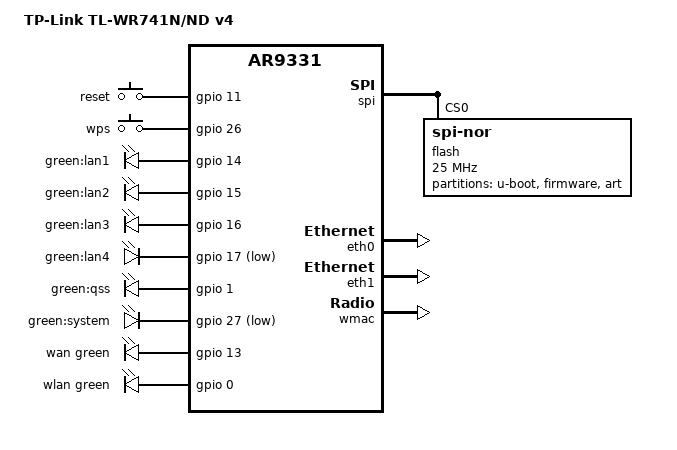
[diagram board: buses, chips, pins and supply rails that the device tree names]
// SPDX-License-Identifier: GPL-2.0-or-later OR MIT

#include "ar9331.dtsi"

#include <dt-bindings/gpio/gpio.h>
#include <dt-bindings/input/input.h>
#include <dt-bindings/leds/common.h>

/ {
	compatible = "tplink,tl-wr741n-v4", "qca,ar9331";
	model = "TP-Link TL-WR741N/ND v4";

	aliases {
		led-boot = &led_system;
		led-failsafe = &led_system;
		led-running = &led_system;
		led-upgrade = &led_system;
		label-mac-device = &wmac;
	};

	keys {
		compatible = "gpio-keys";

		reset {
			label = "reset";
			linux,code = <KEY_RESTART>;
			gpios = <&gpio 11 GPIO_ACTIVE_HIGH>;
			debounce-interval = <60>;
		};

		wps {
			label = "wps";
			linux,code = <KEY_WPS_BUTTON>;
			gpios = <&gpio 26 GPIO_ACTIVE_HIGH>;
			debounce-interval = <60>;
		};
	};

	leds {
		compatible = "gpio-leds";

		pinctrl-names = "default";
		pinctrl-0 = <&switch_led_disable_pins>;

		lan1 {
			label = "green:lan1";
			gpios = <&gpio 14 GPIO_ACTIVE_HIGH>;
		};

		lan2 {
			label = "green:lan2";
			gpios = <&gpio 15 GPIO_ACTIVE_HIGH>;
		};

		lan3 {
			label = "green:lan3";
			gpios = <&gpio 16 GPIO_ACTIVE_HIGH>;
		};

		lan4 {
			label = "green:lan4";
			gpios = <&gpio 17 GPIO_ACTIVE_LOW>;
		};

		qss {
			label = "green:qss";
			gpios = <&gpio 1 GPIO_ACTIVE_HIGH>;
		};

		led_system: system {
			label = "green:system";
			gpios = <&gpio 27 GPIO_ACTIVE_LOW>;
		};

		wan {
			function = LED_FUNCTION_WAN;
			color = <LED_COLOR_ID_GREEN>;
			gpios = <&gpio 13 GPIO_ACTIVE_HIGH>;
		};

		wlan {
			function = LED_FUNCTION_WLAN;
			color = <LED_COLOR_ID_GREEN>;
			gpios = <&gpio 0 GPIO_ACTIVE_HIGH>;
			linux,default-trigger = "phy0tpt";
		};
	};
};

&spi {
	status = "okay";

	flash@0 {
		compatible = "jedec,spi-nor";
		reg = <0>;
		spi-max-frequency = <25000000>;

		partitions {
			compatible = "fixed-partitions";
			#address-cells = <1>;
			#size-cells = <1>;

			uboot: partition@0 {
				reg = <0x0 0x20000>;
				label = "u-boot";
				read-only;

				nvmem-layout {
					compatible = "fixed-layout";
					#address-cells = <1>;
					#size-cells = <1>;

					macaddr_uboot_1fc00: macaddr@1fc00 {
						compatible = "mac-base";
						reg = <0x1fc00 0x6>;
						#nvmem-cell-cells = <1>;
					};
				};
			};

			firmware: partition@20000 {
				compatible = "tplink,firmware";
				reg = <0x20000 0x3d0000>;
				label = "firmware";
			};

			art: partition@3f0000 {
				reg = <0x3f0000 0x10000>;
				label = "art";
				read-only;
			};
		};
	};
};

&eth0 {		/* WAN interface, initialized last as eth1 */
	status = "okay";

	nvmem-cells = <&macaddr_uboot_1fc00 1>;
	nvmem-cell-names = "mac-address";

	gmac-config {
		device = <&gmac>;

		switch-phy-addr-swap = <1>;
		switch-phy-swap = <1>;
	};
};

&eth1 {		/* LAN interface, initialized first as eth0 */
	status = "okay";

	nvmem-cells = <&macaddr_uboot_1fc00 0>;
	nvmem-cell-names = "mac-address";
};

&wmac {
	status = "okay";

	mtd-cal-data = <&art 0x1000>;
	nvmem-cells = <&macaddr_uboot_1fc00 0>;
	nvmem-cell-names = "mac-address";
};
